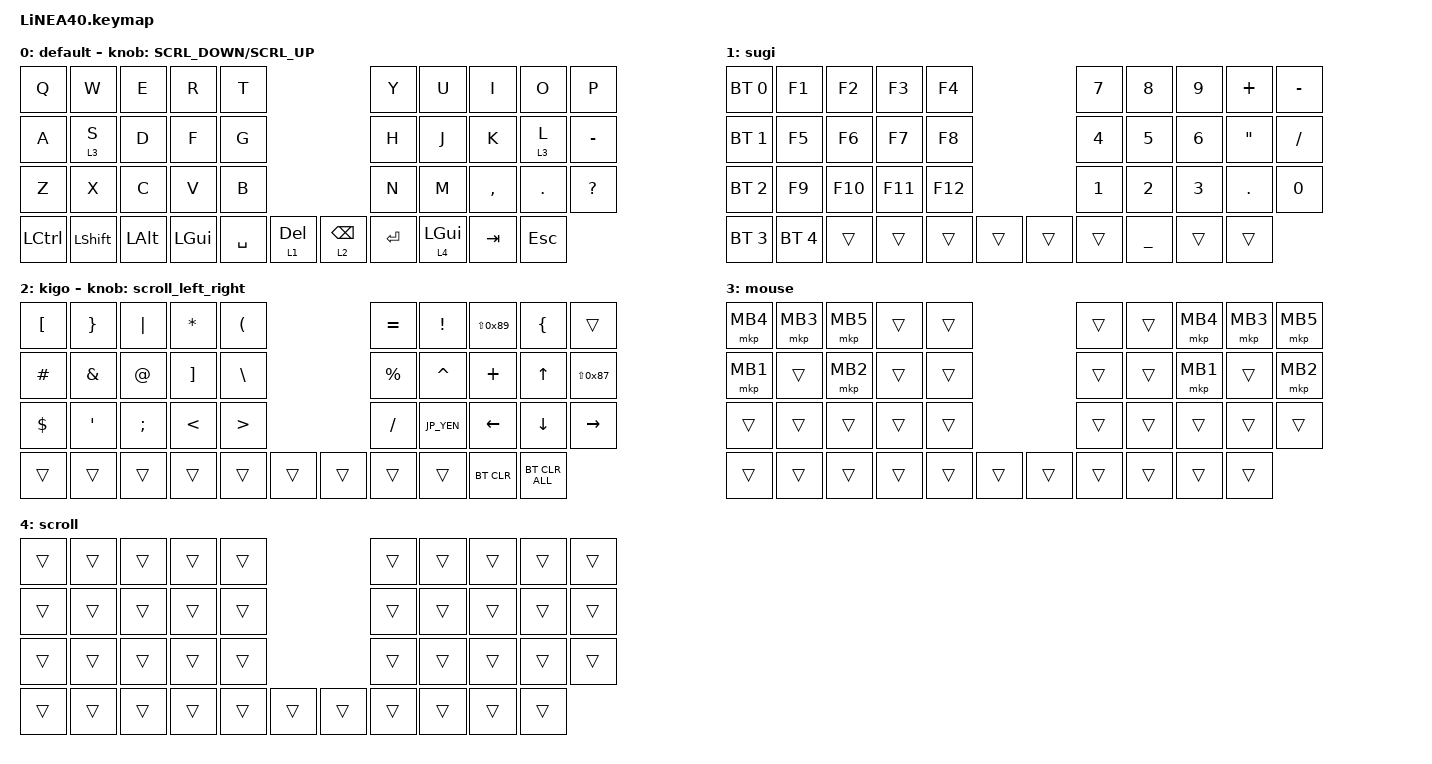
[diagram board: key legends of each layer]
#define ZMK_POINTING_DEFAULT_SCRL_VAL 150

#include <dt-bindings/zmk/input_transform.h>
#include <input/processors.dtsi>
#include <zephyr/dt-bindings/input/input-event-codes.h>
#include <behaviors.dtsi>
#include <dt-bindings/zmk/bt.h>
#include <dt-bindings/zmk/keys.h>
#include <dt-bindings/zmk/pointing.h>

// OS設定を日本語キーボードのまま使用するための変換定義

#define JP_DQUOTE       AT                // "
#define JP_AMPERSAND    CARET             // &
#define JP_QUOTE        AMPERSAND         // '
#define JP_EQUAL        UNDER             // =
#define JP_CARET        EQUAL             // ^
#define JP_YEN          0x89              // ¥
#define JP_PLUS         COLON             // +
#define JP_TILDE        PLUS              // ~
#define JP_PIPE         LS(0x89)          // |
#define JP_AT           LEFT_BRACKET      // @
#define JP_COLON        SINGLE_QUOTE      // :
#define JP_ASTERISK     DOUBLE_QUOTES     // *
#define JP_BACKQUOTE    LEFT_BRACE        // `
#define JP_UNDERSCORE   LS(0x87)          // _
#define JP_LBRACKET     RIGHT_BRACKET     // [
#define JP_RBRACKET     BACKSLASH         // ]
#define JP_LPAREN       ASTERISK          // (
#define JP_RPAREN       LEFT_PARENTHESIS  // )
#define JP_LBRACE       RIGHT_BRACE       // {
#define JP_RBRACE       PIPE              // }
#define JP_KANA         LANGUAGE_1        // かな
#define JP_EISU         LANGUAGE_2        // 英数
#define JP_HANZEN       GRAVE             // 半角/全角
#define MOUSE 3
#define MARK 9
#define CURSOR 8
#define FUNCTION 7
#define SCROLL 4
#define WIRELESS 6

//mouse cursol

&mmv {
    delay-ms = <20>;
    trigger-period-ms = <5>;
    time-to-max-speed-ms = <100>;
    acceleration-exponent = <2>;
};

//mouse scroll

&msc {
    delay-ms = <3>;
    trigger-period-ms = <3>;
    time-to-max-speed-ms = <100>;
    acceleration-exponent = <0>;
};

/ {
    input_processors {
        zip_wheel_scaler: zip_wheel_scaler {
            compatible = "zmk,input-processor-scaler";
            #input-processor-cells = <2>;
            type = <INPUT_EV_REL>;
            codes = <INPUT_REL_WHEEL>;
            track-remainders;
        };
    };
};

&msc_input_listener {
    speed_up {
        layers = <FUNCTION>;
        input-processors = <&zip_wheel_scaler 3 1>; //スクロールを3倍速にする
    };
};

&trackball_listener {
    scroller {
        layers = <SCROLL>;
        input-processors =
            <&zip_xy_transform INPUT_TRANSFORM_Y_INVERT>,
            //スクロール方向を逆転,,,,,,,,,
            <&zip_xy_to_scroll_mapper>;
    };
};

/ {
    combos {
        compatible = "zmk,combos";

        Ena {
            bindings = <&kp LANGUAGE_2>;
            key-positions = <34 35>;
        };

        Ja {
            bindings = <&kp LANGUAGE_1>;
            key-positions = <36 37>;
        };
    };

    behaviors {
        re_kp: sensor_rotate_kp {
            compatible = "zmk,behavior-sensor-rotate-var";
            #sensor-binding-cells = <2>;
            bindings = <&kp>, <&kp>;
        };

        mouse_scrl: mouse_wheel_scrl {
            compatible = "zmk,behavior-sensor-rotate-var";
            #sensor-binding-cells = <2>;
            bindings = <&msc>, <&msc>;

            tap-ms = <20>;
        };

        scroll_left_right: behavior_sensor_rotate_mouse_wheel_left_right {
            compatible = "zmk,behavior-sensor-rotate";
            #sensor-binding-cells = <0>;
            bindings = <&msc SCRL_RIGHT>, <&msc SCRL_LEFT>;

            tap-ms = <20>;
        };
    };

    keymap {
        compatible = "zmk,keymap";

        default {
            bindings = <
&kp Q      &kp W           &kp E         &kp R         &kp T                                       &kp Y      &kp U  &kp I           &kp O    &kp P
&kp A      &lt 3 S         &kp D         &kp F         &kp G                                       &kp H      &kp J  &kp K           &lt 3 L  &kp MINUS
&kp Z      &kp X           &kp C         &kp V         &kp B                                       &kp N      &kp M  &kp COMMA       &kp DOT  &kp QUESTION
&kp LCTRL  &kp LEFT_SHIFT  &kp LEFT_ALT  &kp LEFT_GUI  &kp SPACE  &lt 1 DELETE    &lt 2 BACKSPACE  &kp ENTER         &lt 4 LEFT_GUI  &kp TAB  &kp ESCAPE
            >;

            sensor-bindings = <&mouse_scrl SCRL_DOWN SCRL_UP>;
        };

        //1
        //2
        //3
        //4
        //5
        //6

        sugi {
            bindings = <
&bt BT_SEL 0  &kp F1        &kp F2   &kp F3   &kp F4                     &kp N7  &kp N8  &kp N9        &kp PLUS         &kp MINUS
&bt BT_SEL 1  &kp F5        &kp F6   &kp F7   &kp F8                     &kp N4  &kp N5  &kp N6        &kp JP_ASTERISK  &kp FSLH
&bt BT_SEL 2  &kp F9        &kp F10  &kp F11  &kp F12                    &kp N1  &kp N2  &kp N3        &kp DOT          &kp N0
&bt BT_SEL 3  &bt BT_SEL 4  &trans   &trans   &trans   &trans    &trans  &trans          &kp JP_EQUAL  &trans           &trans
            >;
        };

        kigo {
            bindings = <
&kp JP_AT   &kp JP_LBRACE  &kp JP_RBRACE  &kp JP_LPAREN    &kp JP_RPAREN                       &kp JP_CARET  &kp EXCLAMATION   &kp JP_PIPE     &kp JP_BACKQUOTE  &trans
&kp HASH    &kp JP_QUOTE   &kp JP_DQUOTE  &kp JP_LBRACKET  &kp JP_RBRACKET                     &kp PERCENT   &kp JP_AMPERSAND  &kp JP_TILDE    &kp UP_ARROW      &kp JP_UNDERSCORE
&kp DOLLAR  &kp JP_COLON   &kp SEMICOLON  &kp LESS_THAN    &kp GREATER_THAN                    &kp SLASH     &kp JP_YEN        &kp LEFT_ARROW  &kp DOWN_ARROW    &kp RIGHT_ARROW
&trans      &trans         &trans         &trans           &trans            &trans    &trans  &trans                          &trans          &bt BT_CLR        &bt BT_CLR_ALL
            >;

            sensor-bindings = <&scroll_left_right>;
        };

        mouse {
            bindings = <
&mkp MB4  &mkp MB3  &mkp MB5  &trans  &trans                    &trans  &trans  &mkp MB4  &mkp MB3  &mkp MB5
&mkp MB1  &trans    &mkp MB2  &trans  &trans                    &trans  &trans  &mkp MB1  &trans    &mkp MB2
&trans    &trans    &trans    &trans  &trans                    &trans  &trans  &trans    &trans    &trans
&trans    &trans    &trans    &trans  &trans  &trans    &trans  &trans          &trans    &trans    &trans
            >;
        };

        scroll {
            bindings = <
&trans  &trans  &trans  &trans  &trans                    &trans  &trans  &trans  &trans  &trans
&trans  &trans  &trans  &trans  &trans                    &trans  &trans  &trans  &trans  &trans
&trans  &trans  &trans  &trans  &trans                    &trans  &trans  &trans  &trans  &trans
&trans  &trans  &trans  &trans  &trans  &trans    &trans  &trans          &trans  &trans  &trans
            >;
        };
    };
};
